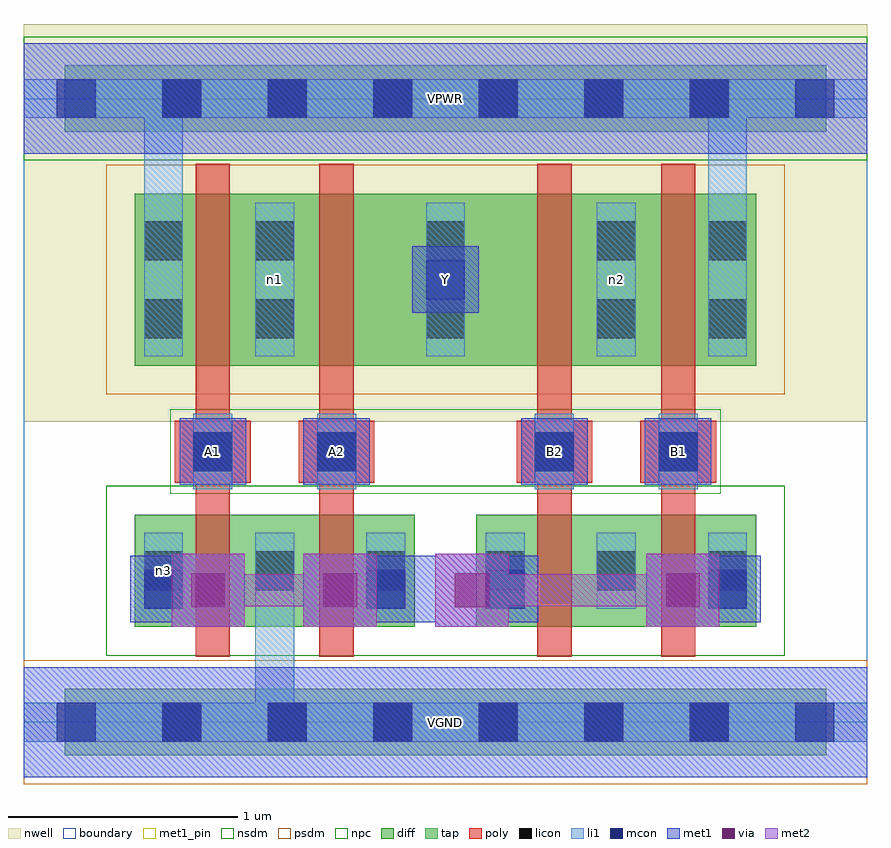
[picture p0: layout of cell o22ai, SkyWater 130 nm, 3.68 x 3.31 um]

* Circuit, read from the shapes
.subckt o22ai A1 A2 B1 B2 VGND VPWR Y n1 n2 n3
XM1 VGND A1 n3 VGND sky130_fd_pr__nfet_01v8 w=0.49 l=0.15
XM2 n3 A2 VGND VGND sky130_fd_pr__nfet_01v8 w=0.49 l=0.15
XM3 n4 B2 n3 VGND sky130_fd_pr__nfet_01v8 w=0.49 l=0.15
XM4 n3 B1 n4 VGND sky130_fd_pr__nfet_01v8 w=0.49 l=0.15
XM5 n1 A1 VPWR VPWR sky130_fd_pr__pfet_01v8 w=0.75 l=0.15
XM6 Y A2 n1 VPWR sky130_fd_pr__pfet_01v8 w=0.75 l=0.15
XM7 n2 B2 Y VPWR sky130_fd_pr__pfet_01v8 w=0.75 l=0.15
XM8 VPWR B1 n2 VPWR sky130_fd_pr__pfet_01v8 w=0.75 l=0.15
.ends

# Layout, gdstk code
import gdstk
lib = gdstk.Library(unit=1e-6, precision=1e-09)
def R(c, l, rs):  # rectangles x0, y0, x1, y1
    for r in rs: c.add(gdstk.rectangle(r[:2], r[2:], *l))
def A(c, l, x, y, w, h, nx, ny, dx, dy):  # array of equal rectangles
    R(c, l, [(x+i*dx, y+j*dy, x+i*dx+w, y+j*dy+h) for i in range(nx) for j in range(ny)])
nwell = (64, 20)
diff = (65, 20)
tap = (65, 44)
poly = (66, 20)
licon = (66, 44)
li1 = (67, 20)
mcon = (67, 44)
met1_pin = (68, 16)
met1 = (68, 20)
via = (68, 44)
met2 = (69, 20)
nsdm = (93, 44)
psdm = (94, 20)
npc = (95, 20)
boundary = (235, 4)

o22ai = lib.new_cell('o22ai')
R(o22ai, nwell, [(0,1.31,3.68,3.045)])
R(o22ai, diff, [(0.485,0.415,1.705,0.905), (1.975,0.415,3.195,0.905), (0.485,1.555,3.195,2.305)])
R(o22ai, tap, [(0.18,-0.145,3.5,0.145), (0.18,2.575,3.5,2.865)])
R(o22ai, poly, [(0.75,0.285,0.9,2.435), (1.29,0.285,1.44,2.435), (2.24,0.285,2.39,2.435), (2.78,0.285,2.93,2.435), (0.66,1.045,0.99,1.315), (1.2,1.045,1.53,1.315), (2.15,1.045,2.48,1.315), (2.69,1.045,3.02,1.315)])
A(o22ai, licon, 0.605, -0.085, 0.17, 0.17, 6, 2, 0.46, 2.72)
A(o22ai, licon, 0.525, 0.575, 0.17, 0.17, 3, 1, 0.485, 0)
A(o22ai, licon, 2.015, 0.575, 0.17, 0.17, 3, 1, 0.485, 0)
A(o22ai, licon, 1.01, 1.675, 0.17, 0.17, 3, 2, 0.745, 0.34)
R(o22ai, licon, [(0.74,1.095,0.91,1.265), (1.28,1.095,1.45,1.265), (2.23,1.095,2.4,1.265), (2.77,1.095,2.94,1.265), (0.525,1.675,0.695,1.845), (2.985,1.675,3.155,1.845), (0.525,2.015,0.695,2.185), (2.985,2.015,3.155,2.185)])
A(o22ai, li1, 0.525, 0.495, 0.17, 0.33, 3, 1, 0.485, 0)
A(o22ai, li1, 2.015, 0.495, 0.17, 0.33, 3, 1, 0.485, 0)
A(o22ai, li1, 1.01, 1.595, 0.17, 0.67, 3, 1, 0.745, 0)
R(o22ai, li1, [(0,-0.085,3.68,0.085), (1.01,-0.085,1.18,0.825), (0.74,1.015,0.91,1.345), (1.28,1.015,1.45,1.345), (2.23,1.015,2.4,1.345), (2.77,1.015,2.94,1.345), (0.525,1.595,0.695,2.265), (0.525,1.595,0.695,2.805), (2.985,1.595,3.155,2.265), (2.985,1.595,3.155,2.805), (0,2.635,3.68,2.805)])
A(o22ai, mcon, 0.145, -0.085, 0.17, 0.17, 8, 2, 0.46, 2.72)
R(o22ai, mcon, [(0.525,0.495,0.695,0.665), (1.495,0.495,1.665,0.665), (2.015,0.495,2.185,0.665), (2.985,0.495,3.155,0.665), (0.74,1.095,0.91,1.265), (1.28,1.095,1.45,1.265), (2.23,1.095,2.4,1.265), (2.77,1.095,2.94,1.265), (1.755,1.845,1.925,2.015)])
R(o22ai, met1_pin, [(0,-0.24,3.68,0.24), (0.68,1.035,0.97,1.325), (1.22,1.035,1.51,1.325), (2.17,1.035,2.46,1.325), (2.71,1.035,3,1.325), (1.695,1.785,1.985,2.075), (0,2.48,3.68,2.96)])
A(o22ai, met1, 0.645, 0.415, 0.32, 0.32, 3, 1, 0.575, 0)
A(o22ai, met1, 0.735, 0.505, 0.14, 0.145, 3, 1, 0.575, 0)
R(o22ai, met1, [(0,-0.24,3.68,0.24), (2.715,0.415,3.035,0.735), (0.465,0.435,0.755,0.725), (1.435,0.435,1.725,0.725), (1.725,0.435,1.795,0.725), (1.955,0.435,2.245,0.725), (2.925,0.435,3.215,0.725), (1.31,0.505,2.025,0.645), (2.805,0.505,2.945,0.65), (0.54,0.51,0.875,0.65), (1.31,0.51,1.65,0.65), (1.885,0.51,2.17,0.65), (2.805,0.51,3.14,0.65), (0.68,1.035,0.97,1.325), (1.22,1.035,1.51,1.325), (2.17,1.035,2.46,1.325), (2.71,1.035,3,1.325), (1.695,1.785,1.985,2.075), (0,2.48,3.68,2.96)])
A(o22ai, via, 0.73, 0.5, 0.15, 0.15, 3, 1, 0.575, 0)
R(o22ai, via, [(2.8,0.5,2.95,0.65)])
A(o22ai, met2, 0.645, 0.415, 0.32, 0.32, 3, 1, 0.575, 0)
R(o22ai, met2, [(2.715,0.415,3.035,0.735), (0.735,0.505,1.45,0.645), (1.885,0.505,2.945,0.645)])
R(o22ai, nsdm, [(0.36,0.29,3.32,1.03), (0,2.45,3.68,2.99)])
R(o22ai, psdm, [(0,-0.27,3.68,0.27), (0.36,1.43,3.32,2.43)])
R(o22ai, npc, [(0.64,0.995,3.04,1.365)])
R(o22ai, boundary, [(0,0,3.68,2.72)])
o22ai.add(gdstk.Label('n3', (0.61,0.66), layer=67, texttype=5))
o22ai.add(gdstk.Label('n1', (1.095,1.93), layer=67, texttype=5))
o22ai.add(gdstk.Label('n2', (2.585,1.93), layer=67, texttype=5))
o22ai.add(gdstk.Label('A1', (0.825,1.18), layer=68, texttype=5))
o22ai.add(gdstk.Label('A2', (1.365,1.18), layer=68, texttype=5))
o22ai.add(gdstk.Label('B1', (2.855,1.18), layer=68, texttype=5))
o22ai.add(gdstk.Label('B2', (2.315,1.18), layer=68, texttype=5))
o22ai.add(gdstk.Label('Y', (1.84,1.93), layer=68, texttype=5))
o22ai.add(gdstk.Label('VPWR', (1.84,2.72), layer=68, texttype=5))
o22ai.add(gdstk.Label('VGND', (1.84,0), layer=68, texttype=5))
o22ai.add(gdstk.Label('A1', (0.825,1.18), layer=68, texttype=16))
o22ai.add(gdstk.Label('A2', (1.365,1.18), layer=68, texttype=16))
o22ai.add(gdstk.Label('B1', (2.855,1.18), layer=68, texttype=16))
o22ai.add(gdstk.Label('B2', (2.315,1.18), layer=68, texttype=16))
o22ai.add(gdstk.Label('Y', (1.84,1.93), layer=68, texttype=16))
o22ai.add(gdstk.Label('VPWR', (1.84,2.72), layer=68, texttype=16))
o22ai.add(gdstk.Label('VGND', (1.84,0), layer=68, texttype=16))

lib.write_gds('o22ai.gds')
